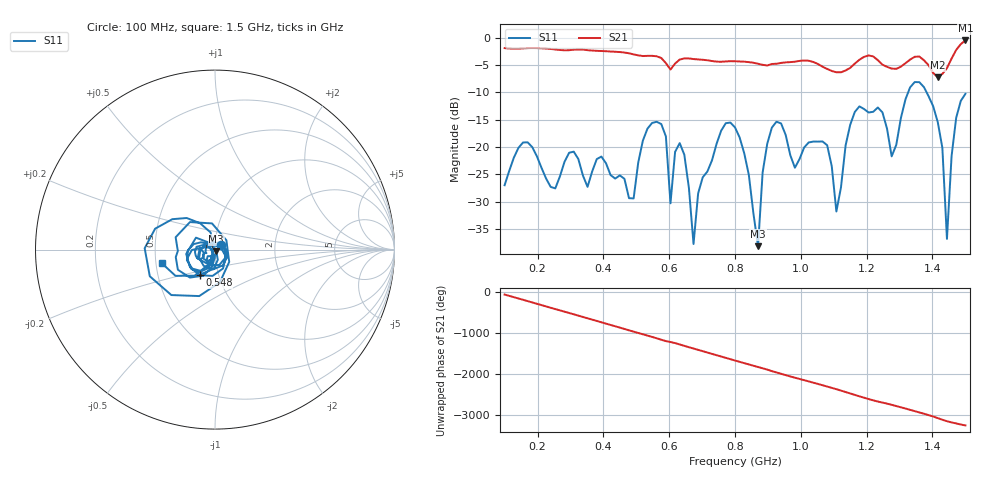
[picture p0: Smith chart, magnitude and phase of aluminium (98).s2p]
! NanoVNA-App
! Date: 2025-09-26 09:58:49
! Start: 100MHz Stop: 1,5GHz Points: 101
! S-Parameter data: F S11 S21 S12 S22
# Hz S RI R 50
!  Frequency  S11_Real  S11_Imag  S21_Real  S21_Imag  S12_Real  S12_Imag  S22_Real  S22_Imag
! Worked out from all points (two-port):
!   101 points, 100 MHz to 1.5 GHz, reference 50 ohm
!   highest |S21| = -0.51 dB at 1.5 GHz (marker M1); lowest = -7.2 dB at 1.416 GHz (marker M2)
!   |S21| within 3 dB of the highest: start of sweep to 566.8 MHz; 1.461 GHz to end of sweep (the widest 2 of 4)
!   lowest |S11| = -38.1 dB at 870 MHz (marker M3), VSWR 1.03, Z = 50.7 - j1.04 ohm
!   |S11| at or under -10 dB: start of sweep to 1.326 GHz; 1.382 GHz to end of sweep
!   S12 and S22 are empty: the file has one direction only
!   S11 on the Smith chart (normalised r, x): 100 MHz: 1.07, +0.06; 548 MHz: 0.81, -0.24; 1.5 GHz: 0.54, -0.09
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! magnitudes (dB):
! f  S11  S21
! 100 MHz  -27.0  -1.9
! 156 MHz  -19.2  -2.0
! 338 MHz  -25.2  -2.2
! 492 MHz  -29.4  -3.1
! 548 MHz  -15.6  -3.3
! 576 MHz  -15.8  -3.7
! 604 MHz  -30.3  -5.8
! 646 MHz  -21.4  -3.8
! 674 MHz  -37.7  -3.9
! 702 MHz  -25.5  -4.0
! 800 MHz  -16.4  -4.3
! 870 MHz  -38.1  -4.8
! 912 MHz  -16.4  -4.8
! 1.038 GHz  -19.0  -4.4
! 1.108 GHz  -31.8  -6.3
! 1.178 GHz  -12.6  -4.0
! 1.276 GHz  -21.7  -5.7
! 1.346 GHz  -8.1  -3.5
! 1.416 GHz  -15.4  -7.2
! 1.444 GHz  -36.8  -5.6
! 1.472 GHz  -14.7  -2.3
! 1.5 GHz  -10.3  -0.5
